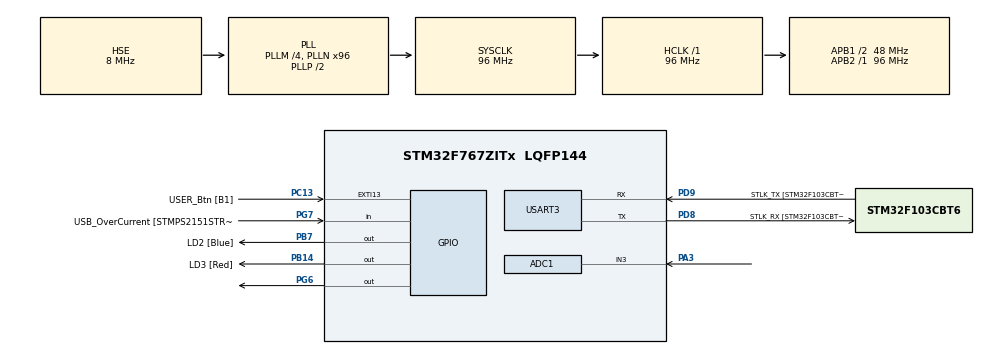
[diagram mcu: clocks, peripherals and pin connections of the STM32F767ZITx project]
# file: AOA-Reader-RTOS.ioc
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ADC1.Channel-4\#ChannelRegularConversion=ADC_CHANNEL_3
ADC1.NbrOfConversionFlag=1
ADC1.Rank-4\#ChannelRegularConversion=1
ADC1.SamplingTime-4\#ChannelRegularConversion=ADC_SAMPLETIME_3CYCLES
ADC1.master=1
FREERTOS.Events01=writing_AoA,Dynamic,NULL
FREERTOS.Tasks01=defaultTask,24,128,StartDefaultTask,Default,NULL,Dynamic,NULL,NULL;Read_AoA,40,128,task1_read_aoa,Default,NULL,Dynamic,NULL,NULL
FREERTOS.configUSE_NEWLIB_REENTRANT=1
Mcu.Family=STM32F7
Mcu.Name=STM32F767ZITx
Mcu.Package=LQFP144
NVIC.PriorityGroup=NVIC_PRIORITYGROUP_4
NVIC.TIM6_DAC_IRQn=true\:15\:0\:false\:false\:true\:false\:false\:true\:true
NVIC.TimeBase=TIM6_DAC_IRQn
NVIC.TimeBaseIP=TIM6
PA10.GPIO_Label=USB_ID
PA10.Signal=USB_OTG_FS_ID
PA11.GPIO_Label=USB_DM
PA11.Signal=USB_OTG_FS_DM
PA12.GPIO_Label=USB_DP
PA12.Signal=USB_OTG_FS_DP
PA13.GPIO_Label=TMS
PA13.Mode=Trace_Asynchronous_SW
PA13.Signal=SYS_JTMS-SWDIO
PA14.GPIO_Label=TCK
PA14.Mode=Trace_Asynchronous_SW
PA14.Signal=SYS_JTCK-SWCLK
PA3.Signal=ADCx_IN3
PA8.GPIO_Label=USB_SOF [TP1]
PA8.Signal=USB_OTG_FS_SOF
PA9.GPIO_Label=USB_VBUS
PA9.Signal=USB_OTG_FS_VBUS
PB13.GPIO_Label=RMII_TXD1 [LAN8742A-CZ-TR_TXD1]
PB13.Signal=ETH_TXD1
PB14.GPIO_Label=LD3 [Red]
PB14.Signal=GPIO_Output
PB3.GPIO_Label=SWO
PB3.Mode=Trace_Asynchronous_SW
PB3.Signal=SYS_JTDO-SWO
PB7.GPIO_Label=LD2 [Blue]
PB7.Signal=GPIO_Output
PC13.GPIO_Label=USER_Btn [B1]
PC13.Signal=GPXTI13
PC14/OSC32_IN.Signal=RCC_OSC32_IN
PC15/OSC32_OUT.Signal=RCC_OSC32_OUT
PD8.GPIO_Label=STLK_RX [STM32F103CBT6_PA3]
PD8.Mode=Asynchronous
PD8.Signal=USART3_TX
PD9.GPIO_Label=STLK_TX [STM32F103CBT6_PA2]
PD9.Mode=Asynchronous
PD9.Signal=USART3_RX
PG11.GPIO_Label=RMII_TX_EN [LAN8742A-CZ-TR_TXEN]
PG11.Signal=ETH_TX_EN
PG13.GPIO_Label=RMII_TXD0 [LAN8742A-CZ-TR_TXD0]
PG13.Signal=ETH_TXD0
PG6.Signal=GPIO_Output
PG7.GPIO_Label=USB_OverCurrent [STMPS2151STR_FAULT]
PG7.Signal=GPIO_Input
PH0/OSC_IN.GPIO_Label=MCO [STM32F103CBT6_PA8]
PH0/OSC_IN.Mode=HSE-External-Oscillator
PH0/OSC_IN.Signal=RCC_OSC_IN
PH1/OSC_OUT.Mode=HSE-External-Oscillator
PH1/OSC_OUT.Signal=RCC_OSC_OUT
ProjectManager.HeapSize=0x200
ProjectManager.StackSize=0x400
ProjectManager.TargetToolchain=STM32CubeIDE
RCC.48MHZClocksFreq_Value=24000000
RCC.AHBFreq_Value=96000000
RCC.APB1CLKDivider=RCC_HCLK_DIV2
RCC.APB1Freq_Value=48000000
RCC.APB1TimFreq_Value=96000000
RCC.APB2Freq_Value=96000000
RCC.APB2TimFreq_Value=96000000
RCC.CortexFreq_Value=96000000
RCC.HCLKFreq_Value=96000000
RCC.HSE_VALUE=8000000
RCC.HSI_VALUE=16000000
RCC.LSE_VALUE=32768
RCC.PLLM=4
RCC.PLLMUL=RCC_PLL_MUL9
RCC.PLLN=96
RCC.PLLQ=4
RCC.PLLSourceVirtual=RCC_PLLSOURCE_HSE
RCC.PRESCALERUSB=RCC_USBCLKSOURCE_PLL_DIV1_5
RCC.SYSCLKFreq_VALUE=96000000
RCC.SYSCLKSource=RCC_SYSCLKSOURCE_PLLCLK
RCC.SYSCLKSourceVirtual=RCC_SYSCLKSOURCE_PLLCLK
RCC.USBFreq_Value=48000000
RCC.VCOOutputFreq_Value=192000000
SH.ADCx_IN3.0=ADC1_IN3,IN3
USART3.VirtualMode-Asynchronous=VM_ASYNC
VP_FREERTOS_VS_CMSIS_V2.Mode=CMSIS_V2
VP_SYS_VS_tim6.Mode=TIM6
board=NUCLEO-F767ZI

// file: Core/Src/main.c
/* USER CODE BEGIN Header */
/**
  ******************************************************************************
  * @file           : main.c
  * @brief          : Main program body
  ******************************************************************************
  * @attention
  *
  * Copyright (c) 2023 STMicroelectronics.
  * All rights reserved.
  *
  * This software is licensed under terms that can be found in the LICENSE file
  * in the root directory of this software component.
  * If no LICENSE file comes with this software, it is provided AS-IS.
  *
  ******************************************************************************
  */
/* USER CODE END Header */
#include "main.h"
#include "cmsis_os.h"

ADC_HandleTypeDef hadc1;

UART_HandleTypeDef huart3;

/* Definitions for defaultTask */
osThreadId_t defaultTaskHandle;
const osThreadAttr_t defaultTask_attributes = {
  .name = "defaultTask",
  .stack_size = 128 * 4,
  .priority = (osPriority_t) osPriorityNormal,
};
/* Definitions for Read_AoA */
osThreadId_t Read_AoAHandle;
const osThreadAttr_t Read_AoA_attributes = {
  .name = "Read_AoA",
  .stack_size = 128 * 4,
  .priority = (osPriority_t) osPriorityHigh,
};
/* Definitions for writing_AoA */
osEventFlagsId_t writing_AoAHandle;
const osEventFlagsAttr_t writing_AoA_attributes = {
  .name = "writing_AoA"
};

void SystemClock_Config(void);
static void MX_GPIO_Init(void);
static void MX_USART3_UART_Init(void);
static void MX_ADC1_Init(void);
void StartDefaultTask(void *argument);
void task1_read_aoa(void *argument);

/* USER CODE BEGIN 0 */
//
// Global variable that contain digital reading from AoA sensor.
uint16_t ADC1RES = 0;
float AoA_actual;
float AoA_new;

int _write(int file, char *ptr, int len)
{
	int DataIdx;

	for(DataIdx=0;DataIdx<len;DataIdx++)
		ITM_SendChar(*ptr++);

	return len;
}

// converts digital value to angle
float convert_adc_to_physical_value(int adc_read, int adc_read_a, float point_a, int adc_read_b, float point_b)
{
	/* convert_adc_to_physical_value: Convert a digital value read from an ADC to it's correspondent physical value.
	 * This function assumes two points in a lane. mapping (adc_read_a,point_a) and (adc_read_b,point_b).
	 * and will determine the value (adc_read,point_c) between point_a and point_b
	 * NOTE: point_b > point_c > point_a
	 *
	 * parameters list:
	 * 			(IN) adc_read: 	digital value read from ADC (12 bits value): ranges from 0 to 4096
	 * 			(IN) adc_read_a: digital read of the known point A in the final scale
	 * 			(IN) point_a:	float in the final scale for the read adc_read_a
	 * 			(IN) adc_read_b:	digital read of the known point A in the final scale
	 * 			(IN) point_b:	float in the final scale for the read adc_read_b
	 *
	 * 			(OUT)point_c:	converted value!
	 */

	 float point_c=0;
	 float delta_y=0,m=0,n=0;
	 int delta_x=0;

	 delta_y = (point_b) - (point_a);
	 delta_x = adc_read_b - adc_read_a;

	 m = delta_y/delta_x;
	 n = 0;

	 point_c = m*adc_read-n;

	 return point_c;
}
/* USER CODE END 0 */

int main(void)
{
  /* USER CODE BEGIN 1 */
	//uint16_t ADC1RES = 0;

  /* USER CODE END 1 */

  /* MCU Configuration--------------------------------------------------------*/

  /* Reset of all peripherals, Initializes the Flash interface and the Systick. */
  HAL_Init();

  /* Configure the system clock */
  SystemClock_Config();

  /* Initialize all configured peripherals */
  MX_GPIO_Init();
  MX_USART3_UART_Init();
  MX_ADC1_Init();

  /* Init scheduler */
  osKernelInitialize();

  /* Create the thread(s) */
  /* creation of defaultTask */
  defaultTaskHandle = osThreadNew(StartDefaultTask, NULL, &defaultTask_attributes);

  /* creation of Read_AoA */
  Read_AoAHandle = osThreadNew(task1_read_aoa, NULL, &Read_AoA_attributes);

  /* Create the event(s) */
  /* creation of writing_AoA */
  writing_AoAHandle = osEventFlagsNew(&writing_AoA_attributes);

  /* Start scheduler */
  osKernelStart();

  /* We should never get here as control is now taken by the scheduler */
  /* Infinite loop */
  /* USER CODE BEGIN WHILE */

  //HAL_ADCEx_Calibration_Start(&hadc1);

  while (1)
  {

    /* USER CODE END WHILE */

  }
}

void SystemClock_Config(void)
{
  RCC_OscInitTypeDef RCC_OscInitStruct = {0};
  RCC_ClkInitTypeDef RCC_ClkInitStruct = {0};

  /** Configure the main internal regulator output voltage
  */
  __HAL_RCC_PWR_CLK_ENABLE();
  __HAL_PWR_VOLTAGESCALING_CONFIG(PWR_REGULATOR_VOLTAGE_SCALE3);

  /** Initializes the RCC Oscillators according to the specified parameters
  * in the RCC_OscInitTypeDef structure.
  */
  RCC_OscInitStruct.OscillatorType = RCC_OSCILLATORTYPE_HSE;
  RCC_OscInitStruct.HSEState = RCC_HSE_ON;
  RCC_OscInitStruct.PLL.PLLState = RCC_PLL_ON;
  RCC_OscInitStruct.PLL.PLLSource = RCC_PLLSOURCE_HSE;
  RCC_OscInitStruct.PLL.PLLM = 4;
  RCC_OscInitStruct.PLL.PLLN = 96;
  RCC_OscInitStruct.PLL.PLLP = RCC_PLLP_DIV2;
  RCC_OscInitStruct.PLL.PLLQ = 4;
  RCC_OscInitStruct.PLL.PLLR = 2;
  if (HAL_RCC_OscConfig(&RCC_OscInitStruct) != HAL_OK)
  {
    Error_Handler();
  }

  /** Activate the Over-Drive mode
  */
  if (HAL_PWREx_EnableOverDrive() != HAL_OK)
  {
    Error_Handler();
  }

  /** Initializes the CPU, AHB and APB buses clocks
  */
  RCC_ClkInitStruct.ClockType = RCC_CLOCKTYPE_HCLK|RCC_CLOCKTYPE_SYSCLK
                              |RCC_CLOCKTYPE_PCLK1|RCC_CLOCKTYPE_PCLK2;
  RCC_ClkInitStruct.SYSCLKSource = RCC_SYSCLKSOURCE_PLLCLK;
  RCC_ClkInitStruct.AHBCLKDivider = RCC_SYSCLK_DIV1;
  RCC_ClkInitStruct.APB1CLKDivider = RCC_HCLK_DIV2;
  RCC_ClkInitStruct.APB2CLKDivider = RCC_HCLK_DIV1;

  if (HAL_RCC_ClockConfig(&RCC_ClkInitStruct, FLASH_LATENCY_3) != HAL_OK)
  {
    Error_Handler();
  }
}

static void MX_ADC1_Init(void)
{

  ADC_ChannelConfTypeDef sConfig = {0};

  /** Configure the global features of the ADC (Clock, Resolution, Data Alignment and number of conversion)
  */
  hadc1.Instance = ADC1;
  hadc1.Init.ClockPrescaler = ADC_CLOCK_SYNC_PCLK_DIV4;
  hadc1.Init.Resolution = ADC_RESOLUTION_12B;
  hadc1.Init.ScanConvMode = ADC_SCAN_DISABLE;
  hadc1.Init.ContinuousConvMode = DISABLE;
  hadc1.Init.DiscontinuousConvMode = DISABLE;
  hadc1.Init.ExternalTrigConvEdge = ADC_EXTERNALTRIGCONVEDGE_NONE;
  hadc1.Init.ExternalTrigConv = ADC_SOFTWARE_START;
  hadc1.Init.DataAlign = ADC_DATAALIGN_RIGHT;
  hadc1.Init.NbrOfConversion = 1;
  hadc1.Init.DMAContinuousRequests = DISABLE;
  hadc1.Init.EOCSelection = ADC_EOC_SINGLE_CONV;
  if (HAL_ADC_Init(&hadc1) != HAL_OK)
  {
    Error_Handler();
  }

  /** Configure for the selected ADC regular channel its corresponding rank in the sequencer and its sample time.
  */
  sConfig.Channel = ADC_CHANNEL_3;
  sConfig.Rank = ADC_REGULAR_RANK_1;
  sConfig.SamplingTime = ADC_SAMPLETIME_3CYCLES;
  if (HAL_ADC_ConfigChannel(&hadc1, &sConfig) != HAL_OK)
  {
    Error_Handler();
  }

}

static void MX_USART3_UART_Init(void)
{

  huart3.Instance = USART3;
  huart3.Init.BaudRate = 115200;
  huart3.Init.WordLength = UART_WORDLENGTH_8B;
  huart3.Init.StopBits = UART_STOPBITS_1;
  huart3.Init.Parity = UART_PARITY_NONE;
  huart3.Init.Mode = UART_MODE_TX_RX;
  huart3.Init.HwFlowCtl = UART_HWCONTROL_NONE;
  huart3.Init.OverSampling = UART_OVERSAMPLING_16;
  huart3.Init.OneBitSampling = UART_ONE_BIT_SAMPLE_DISABLE;
  huart3.AdvancedInit.AdvFeatureInit = UART_ADVFEATURE_NO_INIT;
  if (HAL_UART_Init(&huart3) != HAL_OK)
  {
    Error_Handler();
  }

}

static void MX_GPIO_Init(void)
{
  GPIO_InitTypeDef GPIO_InitStruct = {0};

  /* GPIO Ports Clock Enable */
  __HAL_RCC_GPIOC_CLK_ENABLE();
  __HAL_RCC_GPIOH_CLK_ENABLE();
  __HAL_RCC_GPIOA_CLK_ENABLE();
  __HAL_RCC_GPIOB_CLK_ENABLE();
  __HAL_RCC_GPIOD_CLK_ENABLE();
  __HAL_RCC_GPIOG_CLK_ENABLE();

  /*Configure GPIO pin Output Level */
  HAL_GPIO_WritePin(GPIOB, LD3_Pin|LD2_Pin, GPIO_PIN_RESET);

  /*Configure GPIO pin Output Level */
  HAL_GPIO_WritePin(GPIOG, GPIO_PIN_6, GPIO_PIN_RESET);

  /*Configure GPIO pin : USER_Btn_Pin */
  GPIO_InitStruct.Pin = USER_Btn_Pin;
  GPIO_InitStruct.Mode = GPIO_MODE_IT_RISING;
  GPIO_InitStruct.Pull = GPIO_NOPULL;
  HAL_GPIO_Init(USER_Btn_GPIO_Port, &GPIO_InitStruct);

  /*Configure GPIO pin : RMII_TXD1_Pin */
  GPIO_InitStruct.Pin = RMII_TXD1_Pin;
  GPIO_InitStruct.Mode = GPIO_MODE_AF_PP;
  GPIO_InitStruct.Pull = GPIO_NOPULL;
  GPIO_InitStruct.Speed = GPIO_SPEED_FREQ_VERY_HIGH;
  GPIO_InitStruct.Alternate = GPIO_AF11_ETH;
  HAL_GPIO_Init(RMII_TXD1_GPIO_Port, &GPIO_InitStruct);

  /*Configure GPIO pins : LD3_Pin LD2_Pin */
  GPIO_InitStruct.Pin = LD3_Pin|LD2_Pin;
  GPIO_InitStruct.Mode = GPIO_MODE_OUTPUT_PP;
  GPIO_InitStruct.Pull = GPIO_NOPULL;
  GPIO_InitStruct.Speed = GPIO_SPEED_FREQ_LOW;
  HAL_GPIO_Init(GPIOB, &GPIO_InitStruct);

  /*Configure GPIO pin : PG6 */
  GPIO_InitStruct.Pin = GPIO_PIN_6;
  GPIO_InitStruct.Mode = GPIO_MODE_OUTPUT_PP;
  GPIO_InitStruct.Pull = GPIO_NOPULL;
  GPIO_InitStruct.Speed = GPIO_SPEED_FREQ_LOW;
  HAL_GPIO_Init(GPIOG, &GPIO_InitStruct);

  /*Configure GPIO pin : USB_OverCurrent_Pin */
  GPIO_InitStruct.Pin = USB_OverCurrent_Pin;
  GPIO_InitStruct.Mode = GPIO_MODE_INPUT;
  GPIO_InitStruct.Pull = GPIO_NOPULL;
  HAL_GPIO_Init(USB_OverCurrent_GPIO_Port, &GPIO_InitStruct);

  /*Configure GPIO pins : USB_SOF_Pin USB_ID_Pin USB_DM_Pin USB_DP_Pin */
  GPIO_InitStruct.Pin = USB_SOF_Pin|USB_ID_Pin|USB_DM_Pin|USB_DP_Pin;
  GPIO_InitStruct.Mode = GPIO_MODE_AF_PP;
  GPIO_InitStruct.Pull = GPIO_NOPULL;
  GPIO_InitStruct.Speed = GPIO_SPEED_FREQ_VERY_HIGH;
  GPIO_InitStruct.Alternate = GPIO_AF10_OTG_FS;
  HAL_GPIO_Init(GPIOA, &GPIO_InitStruct);

  /*Configure GPIO pin : USB_VBUS_Pin */
  GPIO_InitStruct.Pin = USB_VBUS_Pin;
  GPIO_InitStruct.Mode = GPIO_MODE_INPUT;
  GPIO_InitStruct.Pull = GPIO_NOPULL;
  HAL_GPIO_Init(USB_VBUS_GPIO_Port, &GPIO_InitStruct);

  /*Configure GPIO pins : RMII_TX_EN_Pin RMII_TXD0_Pin */
  GPIO_InitStruct.Pin = RMII_TX_EN_Pin|RMII_TXD0_Pin;
  GPIO_InitStruct.Mode = GPIO_MODE_AF_PP;
  GPIO_InitStruct.Pull = GPIO_NOPULL;
  GPIO_InitStruct.Speed = GPIO_SPEED_FREQ_VERY_HIGH;
  GPIO_InitStruct.Alternate = GPIO_AF11_ETH;
  HAL_GPIO_Init(GPIOG, &GPIO_InitStruct);

}

/* USER CODE BEGIN 4 */
void printITM(char *ptr)
{
	for(;ptr != 0;ptr++)
		ITM_SendChar(*ptr);
}

/* USER CODE END 4 */

void StartDefaultTask(void *argument)
{
  for(;;)
  {
    osDelay(1);
  }
}

void task1_read_aoa(void *argument)
{
  /* USER CODE BEGIN task1_read_aoa */
  /* Infinite loop */
	// High Priority Task to read the aoa sensor (potentiometer)
	while(1)
		{
		  // While reading ... blue led blinks
		HAL_GPIO_TogglePin(GPIOB, GPIO_PIN_7);

		  // Read value from potentiometer 1 (AoA Sensor)
		  HAL_ADC_Start(&hadc1);
		  HAL_ADC_PollForConversion(&hadc1, 1);
		  ADC1RES = HAL_ADC_GetValue(&hadc1);

		  // Convert digital value to AoA. pot range [0..270]
		  // point_a = (6,0)
		  // point_b = (4094,270)
		  AoA_actual = convert_adc_to_physical_value(ADC1RES,6,0,4094,270);

		  // horizontal position of the aircraft correspond to the 135º, so that, let's convert it to 0º
		  if (AoA_actual < 135)
			  AoA_actual = -1*AoA_actual;
		  else
			  AoA_actual = AoA_actual - 135;

		  // Signal consumers that AoA os ready for reading
		  osEventFlagSet(writing_AoA);

		  // do one read every seconds
		  osDelay(1000);
		}
  /* USER CODE END task1_read_aoa */
}

void HAL_TIM_PeriodElapsedCallback(TIM_HandleTypeDef *htim)
{
  if (htim->Instance == TIM6) {
    HAL_IncTick();
  }
}

void Error_Handler(void)
{
  __disable_irq();
  while (1)
  {
  }
}
